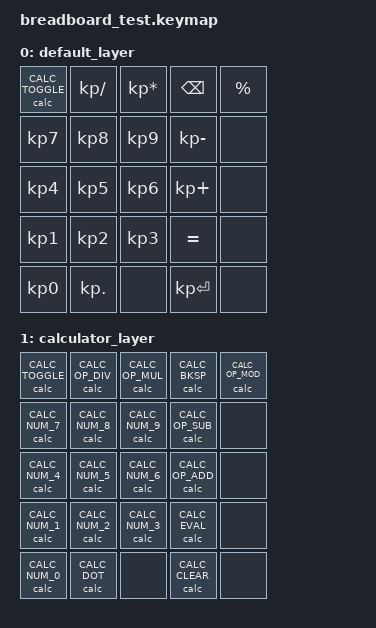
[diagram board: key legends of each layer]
#include <behaviors.dtsi>
#include <dt-bindings/zmk/keys.h>
#include <dt-bindings/zmk/calc_keys.h>

/ {
    behaviors {
        calc: calc {
            compatible = "zmk,behavior-calc";
            #binding-cells = <1>;
        };
    };

    keymap {
        compatible = "zmk,keymap";

        default_layer {
            /* ┌───────┬──────────┬────────────┬──────────┬───────┐
             * │ CALC  │    /     │     *      │   BKSP   │   %   │
             * ├───────┼──────────┼────────────┼──────────┼───────┤
             * │   7   │    8     │     9      │    -     │ NONE  │
             * ├───────┼──────────┼────────────┼──────────┼───────┤
             * │   4   │    5     │     6      │    +     │ NONE  │
             * ├───────┼──────────┼────────────┼──────────┼───────┤
             * │   1   │    2     │     3      │    =     │ NONE  │
             * ├───────┼──────────┼────────────┼──────────┼───────┤
             * │   0   │    .     │   NONE     │  ENTER   │ NONE  │
             * └───────┴──────────┴────────────┴──────────┴───────┘ */
            bindings = <
                &calc CALC_TOGGLE  &kp KP_SLASH  &kp KP_MULTIPLY  &kp BSPC      &kp PRCNT
                &kp KP_N7          &kp KP_N8     &kp KP_N9        &kp KP_MINUS  &none
                &kp KP_N4          &kp KP_N5     &kp KP_N6        &kp KP_PLUS   &none
                &kp KP_N1          &kp KP_N2     &kp KP_N3        &kp EQUAL     &none
                &kp KP_N0          &kp KP_DOT    &none            &kp KP_ENTER  &none
            >;
        };

        calculator_layer {
            /* ┌─────────┬──────────┬──────────┬──────────┬──────────┐
             * │  EXIT   │    ÷     │    ×     │   ←      │    %     │
             * ├─────────┼──────────┼──────────┼──────────┼──────────┤
             * │    7    │    8     │    9     │    -     │  NONE    │
             * ├─────────┼──────────┼──────────┼──────────┼──────────┤
             * │    4    │    5     │    6     │    +     │  NONE    │
             * ├─────────┼──────────┼──────────┼──────────┼──────────┤
             * │    1    │    2     │    3     │    =     │  NONE    │
             * ├─────────┼──────────┼──────────┼──────────┼──────────┤
             * │    0    │    .     │  NONE    │  CLEAR   │  NONE    │
             * └─────────┴──────────┴──────────┴──────────┴──────────┘ */
            bindings = <
                &calc CALC_TOGGLE   &calc CALC_OP_DIV  &calc CALC_OP_MUL  &calc CALC_BKSP    &calc CALC_OP_MOD
                &calc CALC_NUM_7    &calc CALC_NUM_8   &calc CALC_NUM_9   &calc CALC_OP_SUB  &none
                &calc CALC_NUM_4    &calc CALC_NUM_5   &calc CALC_NUM_6   &calc CALC_OP_ADD  &none
                &calc CALC_NUM_1    &calc CALC_NUM_2   &calc CALC_NUM_3   &calc CALC_EVAL    &none
                &calc CALC_NUM_0    &calc CALC_DOT     &none              &calc CALC_CLEAR   &none
            >;
        };
    };
};
